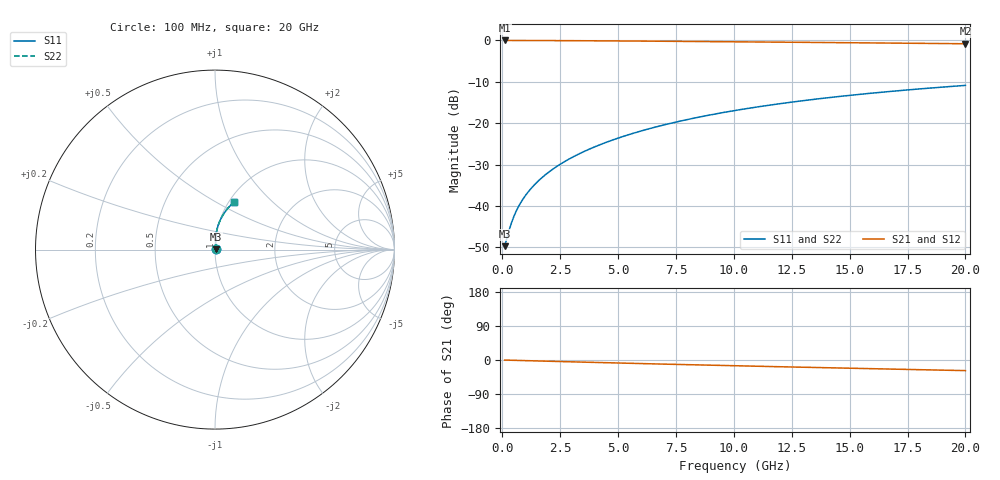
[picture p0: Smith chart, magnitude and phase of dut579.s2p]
! Touchstone file exported from HFSS 2024.1.0
!  File:  C:/UserFiles/LocalFiles/RDL_TSV_Batchsim/temp_RDL_top_579_1779682016.aedt
!  Generated:  12:09:06 PM May 25, 2026
!  Design:  RDL_top
!  Project:  temp_RDL_top_579_1779682016
!  Setup:  Setup1
!  Solution:  Sweep
! Variables:
!  dtsv = 10.80580581um
!  hbump = 3um
!  htsv = 62.37um
!  ldown = 100um
!  lrdl = 359.43um
!  p = 40
!  p1 = 51.51um
!  rhole = 1um
!  t = 450um
!  tdown = 3.915915916um
!  trdl = 2.09um
!  wdown = 15.38538539um
!  wrdl = 23.58um
# GHz S MA R 50.000000
! Terminal data exported
! Port[1] = Box2_T1
! Port[2] = Box2_T2
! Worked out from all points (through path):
!   200 points, 100 MHz to 20 GHz, reference 50 ohm
!   highest |S21| = -0.03 dB at 100 MHz (marker M1); lowest = -0.8 dB at 20 GHz (marker M2)
!   group delay of S21, straight-line fit = 3.85 ps
!   lowest |S11| = -49.7 dB at 100 MHz (marker M3), VSWR 1.01, Z = 50.3 + j0.14 ohm
!   |S11| at or under -10 dB: start of sweep to end of sweep
!   |S22| runs from -49.7 to -10.9 dB; largest |S21 - S12| = 3.5e-15
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0.1  0.003273 25.2  0.997 -0.2  0.997 -0.2  0.003273 25.2
! Gamma 0 0 0 0
! Port Impedance 50 0 50 0
0.3  0.005156 52.9  0.9968 -0.5  0.9968 -0.5  0.005156 52.9
0.4  0.006301 59.4  0.9967 -0.7  0.9967 -0.7  0.006301 59.4
0.5  0.007474 63.7  0.9965 -0.9  0.9965 -0.9  0.007474 63.7
0.6  0.008653 66.9  0.9964 -1.0  0.9964 -1.0  0.008653 66.9
0.7  0.009833 69.3  0.9962 -1.2  0.9962 -1.2  0.009833 69.3
0.9  0.0122 72.9  0.9959 -1.5  0.9959 -1.5  0.0122 72.9
1.2  0.01577 76.6  0.9954 -2.0  0.9954 -2.0  0.01577 76.6
1.7  0.02184 80.3  0.9945 -2.8  0.9945 -2.8  0.02184 80.3
2.2  0.02808 82.6  0.9934 -3.6  0.9934 -3.6  0.02808 82.6
2.8  0.03579 84.3  0.9918 -4.6  0.9918 -4.6  0.03579 84.3
3.5  0.04508 85.5  0.9896 -5.7  0.9896 -5.7  0.04509 85.5
4.2  0.05469 86.1  0.9871 -6.7  0.9871 -6.7  0.0547 86.1
5  0.06601 86.3  0.984 -8.0  0.984 -8.0  0.06602 86.3
5.9  0.07912 86.1  0.9802 -9.3  0.9802 -9.3  0.07914 86.1
6.8  0.09255 85.6  0.9762 -10.6  0.9762 -10.6  0.09258 85.6
8.4  0.1169 84.1  0.9687 -12.9  0.9687 -12.9  0.1169 84.1
10.1  0.143 82.0  0.9605 -15.2  0.9605 -15.2  0.1431 82.0
11.7  0.1675 79.8  0.9527 -17.4  0.9527 -17.4  0.1676 79.9
13.4  0.1931 77.4  0.9443 -19.7  0.9443 -19.7  0.1932 77.5
16.7  0.2409 72.7  0.9275 -23.9  0.9275 -23.9  0.2411 72.8
20  0.2858 68.2  0.9102 -28.0  0.9102 -28.0  0.2859 68.2
